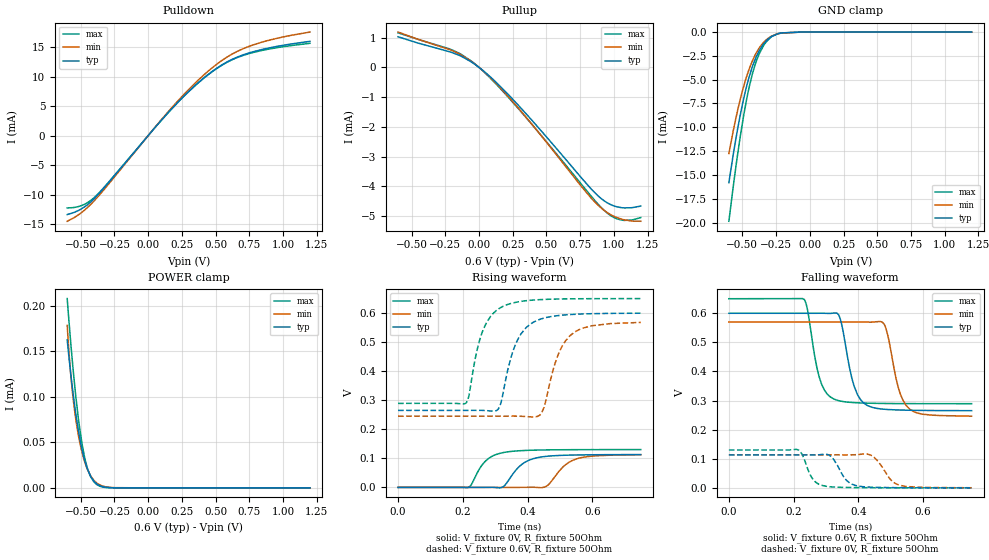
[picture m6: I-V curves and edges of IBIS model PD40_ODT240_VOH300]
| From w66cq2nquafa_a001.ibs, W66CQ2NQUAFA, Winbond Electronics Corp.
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[Model]   PD40_ODT240_VOH300
Model_type   I/O
Polarity   Non-Inverting
Enable   Active-Low
Vinl = 0.08
Vinh = 0.22
Vmeas = 0.15
Vref = 0
Cref = 0pF
Rref = 240
|   typ   min   max
C_comp   0.85pF   0.80pF   0.90pF
[Voltage Range]   0.6   0.57   0.65
[Temperature Range]   25   95   -40
[Pullup Reference]   0.6   0.57   0.65
[Pulldown Reference]   0   0   0
[Power Clamp Reference]   0.6   0.57   0.65
[GND Clamp Reference]   0   0   0
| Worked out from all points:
|   slope of the pulldown table from 0 to 0.09 V, typ, clamps not added: 37.4 ohm
|   slope of the pullup table from 0 to 0.09 V, typ, clamps not added: 261 ohm
|   GND clamp passes 1 mA (typ) near -0.33 V on its own axis
|   falling waveform, V_fixture 0.6V, R_fixture 50Ohm: 20-80 % time 39.4ps typ, 39.3ps min, 36.7ps max; typ from 0.6 V to 0.265 V
|   rising waveform, V_fixture 0V, R_fixture 50Ohm: 20-80 % time 58.5ps typ, 59.1ps min, 51.7ps max; typ from 0 V to 0.113 V
|   rising waveform, V_fixture 0.6V, R_fixture 50Ohm: 20-80 % time 57.2ps typ, 57.8ps min, 53.8ps max; typ from 0.265 V to 0.6 V
|   falling waveform, V_fixture 0V, R_fixture 50Ohm: 20-80 % time 38.9ps typ, 44ps min, 31.6ps max; typ from 0.113 V to 0 V
[Pulldown]
|   Voltage   I(typ)   I(min)   I(max)
-600mV    -13.36mA   -14.5mA    -12.25mA
-490.1mV  -12.33mA   -12.96mA   -11.81mA
-449.9mV  -11.69mA   -12.17mA   -11.35mA
-402.4mV  -10.72mA   -11.09mA   -10.53mA
-304.3mV  -8.255mA   -8.511mA   -8.173mA
163.2mV   4.272mA    4.424mA    4.263mA
345.1mV   8.434mA    8.828mA    8.405mA
509.8mV   11.44mA    12.12mA    11.39mA
625.2mV   12.95mA    13.85mA    12.88mA
775.4mV   14.19mA    15.35mA    14.07mA
952.1mV   15.11mA    16.48mA    14.89mA
1.2V      15.98mA    17.55mA    15.64mA
[GND Clamp]
|   Voltage   I(typ)   I(min)   I(max)
-600mV    -15.82mA   -12.76mA   -19.87mA
-567.5mV  -12.86mA   -10.37mA   -16.21mA
-516.8mV  -8.794mA   -7.124mA   -11.07mA
-490.1mV  -6.992mA   -5.702mA   -8.743mA
-449.9mV  -4.718mA   -3.9mA     -5.797mA
-424.8mV  -3.59mA    -3.004mA   -4.352mA
-380.4mV  -2.118mA   -1.799mA   -2.454mA
-334.8mV  -1.12mA    -978.1uA   -1.24mA
-281.5mV  -450.7uA   -411.3uA   -472.5uA
-219.8mV  -126.1uA   -134.9uA   -110.6uA
-59.4mV   -1.287uA   -3.081uA   -497.3nA
1.2V      0A         0A         0A
[Pullup]
|   Voltage   I(typ)   I(min)   I(max)
-600mV    1.025mA    1.184mA    1.157mA
-219.8mV  524.3uA    597.4uA    620.6uA
-127.5mV  362.2uA    404.1uA    424.1uA
-36.27mV  117.8uA    129.9uA    137.9uA
84.57mV   -323uA     -347uA     -364.6uA
228.1mV   -964.7uA   -1.035mA   -1.059mA
443.4mV   -2.039mA   -2.193mA   -2.189mA
829.6mV   -4.071mA   -4.376mA   -4.312mA
933.9mV   -4.498mA   -4.821mA   -4.825mA
1.001V    -4.655mA   -5.003mA   -5.043mA
1.063V    -4.716mA   -5.104mA   -5.132mA
1.2V      -4.658mA   -5.169mA   -5.044mA
[POWER Clamp]
|   Voltage   I(typ)   I(min)   I(max)
-600mV    162.4uA    178.3uA    207.7uA
-578.9mV  132.2uA    133.2uA    168.2uA
-555mV    101.9uA    96.65uA    128uA
-539mV    84.05uA    78.04uA    104.1uA
-516.8mV  62.38uA    57.45uA    75.35uA
-490.1mV  41.88uA    39.17uA    48.08uA
-468.7mV  29.07uA    27.96uA    31.78uA
-449.9mV  20.41uA    20.21uA    21.24uA
-425.8mV  12.46uA    13uA       12.08uA
-381mV    4.516uA    5.341uA    3.585uA
-249.6mV  50.68nA    197.7nA    0A
1.2V      0A         0A         0A
[Ramp]
R_load = 50
|   typ   min   max
dV/dt_r 6.7827E-02/5.8440E-11   6.7461E-02/5.8962E-11   7.8092E-02/5.1620E-11
dV/dt_f 2.0084E-01/3.9138E-11   1.9422E-01/3.9329E-11   2.1643E-01/3.6651E-11
[Falling Waveform]
V_fixture = 0.6V
V_fixture_min = 0.57V
V_fixture_max = 0.65V
R_fixture = 50Ohm
C_fixture = 0F
|   Time   V(typ)   V(min)   V(max)
0s        600mV      570mV      650mV
233ps     600mV      570mV      647.3mV
286ps     600.1mV    570mV      357.4mV
335ps     599.6mV    570mV      301mV
397ps     321.4mV    570.1mV    292.3mV
474ps     270.7mV    569.7mV    290.1mV
491ps     269.2mV    525.1mV    289.9mV
523ps     267.7mV    346.5mV    289.6mV
548ps     266.9mV    282.8mV    289.5mV
750ps     265.3mV    246.3mV    289.3mV
[Rising Waveform]
V_fixture = 0V
V_fixture_min = 0V
V_fixture_max = 0V
R_fixture = 50Ohm
C_fixture = 0F
|   Time   V(typ)   V(min)   V(max)
0s        4.358uV    14.31uV    865.7nV
218ps     -660.2nV   14.29uV    464.8uV
265ps     115.4uV    14.8uV     84.52mV
319ps     -553.1uV   8.081uV    118.4mV
380ps     77.14mV    148.2uV    126.5mV
444ps     105mV      -796.6uV   128.8mV
463ps     107.4mV    7.548mV    129.2mV
517ps     110.7mV    77.76mV    129.7mV
548ps     111.6mV    96.87mV    129.9mV
750ps     113mV      112.4mV    130.2mV
[Rising Waveform]
V_fixture = 0.6V
V_fixture_min = 0.57V
V_fixture_max = 0.65V
R_fixture = 50Ohm
C_fixture = 0F
|   Time   V(typ)   V(min)   V(max)
0s        265.2mV    245.3mV    289.3mV
211ps     265.1mV    245.3mV    291.5mV
257ps     265.2mV    245.3mV    524.4mV
304ps     264.6mV    245.3mV    609.2mV
368ps     504.9mV    245.3mV    638.2mV
432ps     576.1mV    244.9mV    646mV
451ps     582.8mV    275mV      647mV
496ps     591.7mV    460.4mV    648.6mV
530ps     594.9mV    520.8mV    649.2mV
750ps     599.7mV    568mV      650mV
[Falling Waveform]
|Gnd
V_fixture = 0V
V_fixture_min = 0V
V_fixture_max = 0V
R_fixture = 50Ohm
C_fixture = 0F
|   Time   V(typ)   V(min)   V(max)
0s        113.2mV    113.3mV    130.2mV
214ps     113.2mV    113.3mV    130.7mV
260ps     113.1mV    113.3mV    28.97mV
303ps     115mV      113.3mV    4.822mV
323ps     98.48mV    113.4mV    2.826mV
363ps     26.16mV    113.2mV    1.326mV
396ps     6.891mV    114.2mV    775.9uV
444ps     1.973mV    108.9mV    380.9uV
526ps     617.3uV    9.648mV    108.6uV
750ps     43.19uV    321.9uV    3.379uV
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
